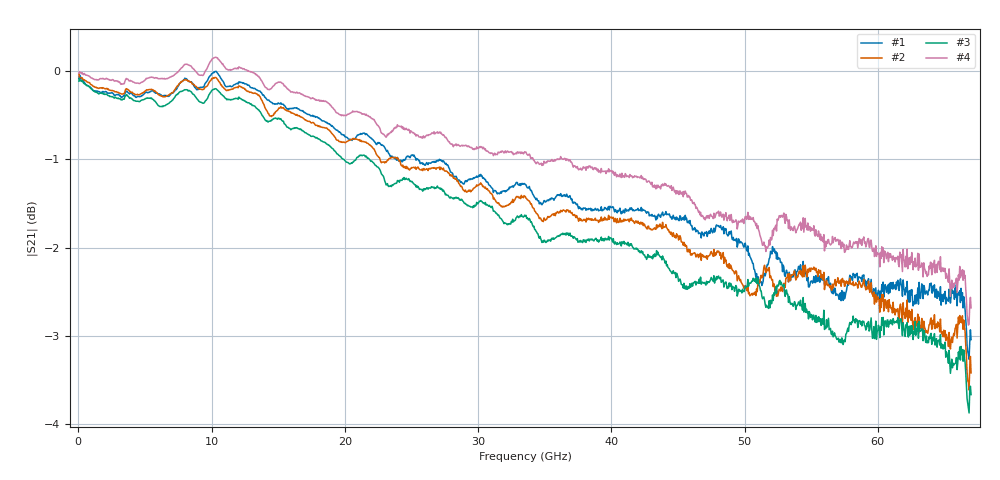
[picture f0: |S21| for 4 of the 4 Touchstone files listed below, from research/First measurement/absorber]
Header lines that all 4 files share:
#  HZ  S  MA  R  50.00
! Rohde & Schwarz ZVA67 4Ports - Version 4.11 - 1305.7002k04 SN: 101051
! Measurements: S11 S21 S12 S22
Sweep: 50 MHz to 67 GHz
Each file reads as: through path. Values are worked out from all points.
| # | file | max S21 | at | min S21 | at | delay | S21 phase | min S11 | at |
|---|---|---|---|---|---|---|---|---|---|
| 1 | Line_A3.s2p | 0.00 dB | 10.35 GHz | -3.3 dB | 66.85 GHz | 385 ps | 26 deg at 33.55 GHz | -48.7 dB | 1.7 GHz |
| 2 | Line_A4.s2p | -0.03 dB | 50 MHz | -3.6 dB | 66.85 GHz | 398 ps | -130 deg at 33.55 GHz | -44.7 dB | 800 MHz |
| 3 | Line_A5.s2p | -0.08 dB | 100 MHz | -3.9 dB | 66.85 GHz | 411 ps | 69 deg at 33.55 GHz | -60.0 dB | 850 MHz |
| 4 | Thru_A1.s2p | 0.16 dB | 10.3 GHz | -2.9 dB | 66.8 GHz | 373 ps | 172 deg at 33.55 GHz | -48.2 dB | 100 MHz |
